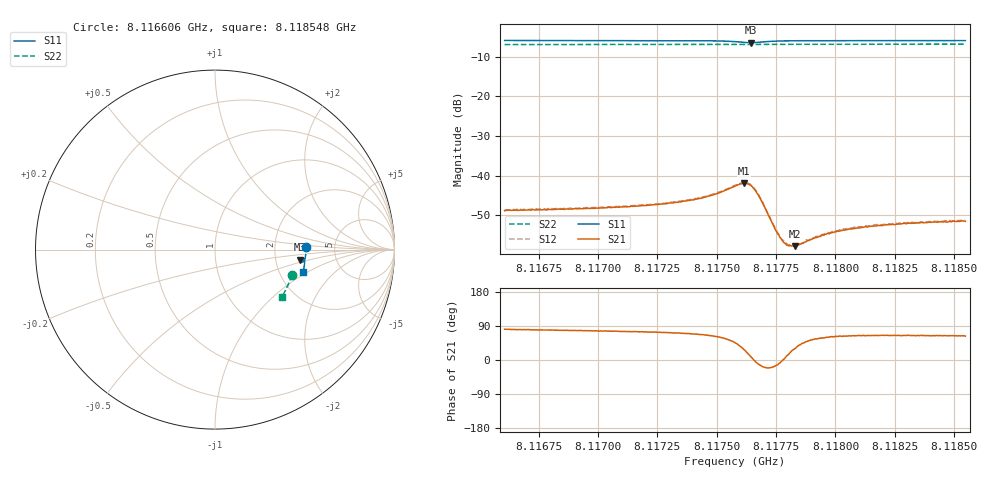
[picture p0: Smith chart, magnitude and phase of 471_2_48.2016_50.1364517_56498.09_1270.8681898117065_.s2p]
#  HZ  S  RI  R  50.00
! Rohde & Schwarz Vector Network Analyzer
! Rohde-Schwarz,ZNB20-2Port,1311601062101988,3.16
! Created: UTC 3/20/2024, 11:57:09 AM
! freq[Hz]  re:S11  im:S11  re:S21  im:S21  re:S12  im:S12  re:S22  im:S22
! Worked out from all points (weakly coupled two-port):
!   401 points, 8.116606 GHz to 8.118548 GHz, reference 50 ohm
!   highest |S21| = -41.95 dB at 8.117616 GHz (marker M1); lowest = -57.8 dB at 8.117829 GHz (marker M2)
!   lowest |S11| = -6.5 dB at 8.117645 GHz (marker M3), VSWR 2.81, Z = 137 - j19.8 ohm
!   |S11| at or under -10 dB: nowhere
!   |S22| runs from -6.9 to -6.8 dB; largest |S21 - S12| = 0.00022
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8.1166065e9  0.5072 0.0141  0.000556 0.00357  0.000607 0.00363  0.4273 -0.1422
8.1169316e9  0.5069 -0.011  0.000805 0.00375  0.000862 0.00381  0.4204 -0.164
8.1172568e9  0.5045 -0.0373  0.00125 0.00417  0.00133 0.00419  0.4124 -0.185
8.1173441e9  0.5032 -0.045  0.00152 0.00441  0.00158 0.0045  0.4102 -0.1907
8.1174509e9  0.4999 -0.0557  0.00218 0.00488  0.00225 0.00498  0.407 -0.1977
8.1175043e9  0.4966 -0.0617  0.00288 0.00522  0.00299 0.00536  0.4054 -0.2013
8.1175771e9  0.4857 -0.0688  0.00515 0.00527  0.0053 0.00541  0.4029 -0.2057
8.1176159e9  0.4753 -0.0658  0.0071 0.00365  0.00729 0.00369  0.4014 -0.2078
8.117645e9  0.472 -0.0558  0.00737 0.000989  0.00754 0.001  0.4004 -0.2092
8.1176644e9  0.4754 -0.0495  0.00635 -0.000541  0.00651 -0.000549  0.4003 -0.2101
8.1176838e9  0.4813 -0.0465  0.00493 -0.00126  0.00505 -0.00131  0.3998 -0.2111
8.1177469e9  0.4947 -0.0522  0.00201 -0.000568  0.00207 -0.000606  0.3985 -0.2154
8.1177761e9  0.497 -0.0564  0.00152 -4.77e-05  0.00155 -6.88e-05  0.3978 -0.2173
8.1177906e9  0.4978 -0.0584  0.00136 0.000182  0.00142 0.000148  0.3973 -0.2182
8.1178052e9  0.4982 -0.0603  0.00124 0.000367  0.00128 0.00035  0.3969 -0.2192
8.1178294e9  0.4989 -0.0634  0.00111 0.000645  0.00121 0.000674  0.396 -0.2207
8.1178586e9  0.4994 -0.0667  0.00101 0.000959  0.00103 0.000936  0.3952 -0.2226
8.1179022e9  0.4993 -0.0714  0.000958 0.00127  0.00098 0.00127  0.3939 -0.2255
8.1179605e9  0.4991 -0.077  0.000922 0.00157  0.000977 0.00161  0.3919 -0.2292
8.118043e9  0.4983 -0.0843  0.00093 0.00185  0.000976 0.0019  0.3894 -0.2344
8.1182274e9  0.4958 -0.0994  0.00103 0.00217  0.00106 0.00222  0.3827 -0.2457
8.1185477e9  0.4902 -0.1234  0.0012 0.00236  0.00119 0.00248  0.3709 -0.2645
